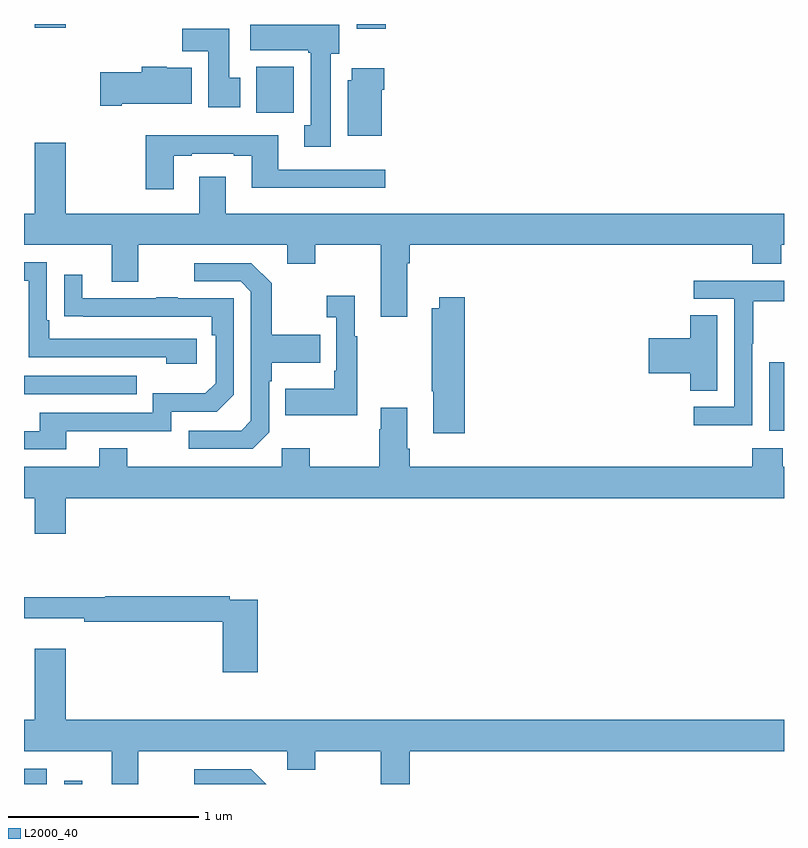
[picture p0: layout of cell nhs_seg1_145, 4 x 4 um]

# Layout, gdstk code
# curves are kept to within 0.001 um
import gdstk
lib = gdstk.Library(unit=1e-6, precision=1e-09)
def R(c, l, rs):  # rectangles x0, y0, x1, y1
    for r in rs: c.add(gdstk.rectangle(r[:2], r[2:], *l))
def P(c, l, *ps):  # polygons
    for p in ps: c.add(gdstk.Polygon(p, *l))
L2000_40 = (2000, 40)

nhs_seg1_145 = lib.new_cell('nhs_seg1_145')
R(nhs_seg1_145, L2000_40, [(117,578.199,117.12,578.28), (117.211,578.199,117.307,578.215), (120.923,580.058,121,580.419), (117,580.251,117.593,580.347), (118.223,581.732,118.42,581.974), (118.751,582.174,118.904,582.199), (117.056,582.18,117.22,582.199)])
P(nhs_seg1_145, L2000_40, [(118.615,582.042),(118.66,582.042),(118.66,582.196),(118.191,582.196),(118.191,582.062),(118.495,582.062),(118.495,582.049),(118.508,582.049),(118.508,581.666),(118.475,581.666),(118.475,581.553),(118.615,581.553)],
  [(118.138,581.916),(118.081,581.916),(118.081,582.175),(117.832,582.175),(117.832,582.056),(117.971,582.056),(117.971,581.76),(118.138,581.76)],
  [(117.514,581.78),(117.883,581.78),(117.883,581.968),(117.75,581.968),(117.75,581.974),(117.62,581.974),(117.62,581.946),(117.402,581.946),(117.402,581.768),(117.514,581.768)],
  [(118.882,581.852),(118.895,581.852),(118.895,581.965),(118.724,581.965),(118.724,581.904),(118.703,581.904),(118.703,581.612),(118.882,581.612)],
  [(117.787,581.505),(117.883,581.505),(117.883,581.517),(118.103,581.517),(118.103,581.505),(118.199,581.505),(118.199,581.336),(118.9,581.336),(118.9,581.433),(118.339,581.433),(118.339,581.614),(117.64,581.614),(117.64,581.328),(117.787,581.328)],
  [(119.017,580.94),(119.03,580.94),(119.03,581.036),(120.833,581.036),(120.833,580.937),(120.985,580.937),(120.985,581.036),(121,581.036),(121,581.2),(118.063,581.2),(118.063,581.395),(117.923,581.395),(117.923,581.2),(117.22,581.2),(117.22,581.575),(117.056,581.575),(117.056,581.2),(117,581.2),(117,581.036),(117.461,581.036),(117.461,580.842),(117.601,580.842),(117.601,581.036),(118.385,581.036),(118.385,580.937),(118.533,580.937),(118.533,581.036),(118.877,581.036),(118.877,580.659),(119.017,580.659)],
  [(117.91,580.542),(117.133,580.542),(117.133,580.639),(117.12,580.639),(117.12,580.944),(117,580.944),(117,580.848),(117.024,580.848),(117.024,580.446),(117.749,580.446),(117.749,580.412),(117.91,580.412)],
  [(118.29,580.05),(118.29,580.319),(118.303,580.319),(118.303,580.415),(118.559,580.415),(118.559,580.563),(118.303,580.563),(118.303,580.835),(118.197,580.941),(117.897,580.941),(117.897,580.845),(118.14,580.845),(118.194,580.791),(118.194,580.11),(118.143,580.059),(117.867,580.059),(117.867,579.963),(118.203,579.963)],
  [(117.223,580.056),(117.774,580.056),(117.774,580.158),(118.014,580.158),(118.104,580.248),(118.104,580.755),(117.809,580.755),(117.809,580.76),(117.697,580.76),(117.697,580.755),(117.307,580.755),(117.307,580.879),(117.211,580.879),(117.211,580.66),(117.988,580.659),(117.988,580.562),(118.008,580.562),(118.008,580.308),(117.955,580.255),(117.678,580.255),(117.678,580.152),(117.083,580.152),(117.083,580.056),(117,580.056),(117,579.96),(117.223,579.96)],
  [(120.834,580.516),(120.837,580.516),(120.837,580.74),(121,580.74),(121,580.848),(120.525,580.848),(120.525,580.752),(120.738,580.752),(120.738,580.185),(120.525,580.185),(120.525,580.087),(120.834,580.087)],
  [(118.753,580.555),(118.741,580.555),(118.741,580.768),(118.593,580.768),(118.593,580.655),(118.644,580.655),(118.644,580.375),(118.632,580.375),(118.632,580.279),(118.375,580.279),(118.375,580.139),(118.753,580.139)],
  [(119.321,580.762),(119.186,580.762),(119.186,580.702),(119.146,580.702),(119.146,580.267),(119.153,580.267),(119.153,580.044),(119.321,580.044)],
  [(120.649,580.667),(120.506,580.667),(120.506,580.544),(120.288,580.544),(120.288,580.361),(120.506,580.361),(120.506,580.27),(120.649,580.27)],
  [(117.22,579.704),(121,579.704),(121,579.868),(120.993,579.868),(120.993,579.967),(120.833,579.967),(120.833,579.868),(119.03,579.868),(119.03,579.964),(119.017,579.964),(119.017,580.18),(118.877,580.18),(118.877,580.067),(118.87,580.067),(118.87,579.868),(118.503,579.868),(118.503,579.967),(118.356,579.967),(118.356,579.868),(117.543,579.868),(117.543,579.967),(117.395,579.967),(117.395,579.868),(117,579.868),(117,579.704),(117.056,579.704),(117.056,579.516),(117.22,579.516)],
  [(118.229,579.168),(118.082,579.168),(118.082,579.188),(117.427,579.188),(117.427,579.181),(117,579.181),(117,579.071),(117.316,579.071),(117.316,579.052),(118.046,579.052),(118.046,578.787),(118.229,578.787)],
  [(117.601,578.372),(118.385,578.372),(118.385,578.273),(118.533,578.273),(118.533,578.372),(118.877,578.372),(118.877,578.199),(119.03,578.199),(119.03,578.372),(121,578.372),(121,578.536),(117.22,578.536),(117.22,578.911),(117.056,578.911),(117.056,578.536),(117,578.536),(117,578.372),(117.461,578.372),(117.461,578.199),(117.601,578.199)],
  [(118.197,578.277),(117.897,578.277),(117.897,578.199),(118.275,578.199)])

lib.write_gds('nhs_seg1_145.gds')
